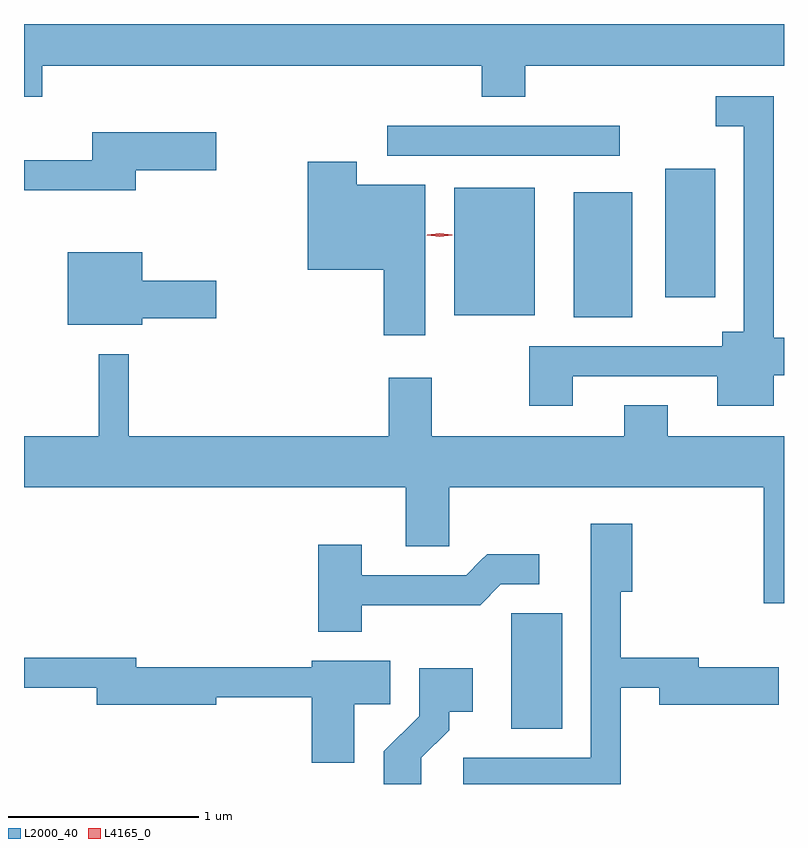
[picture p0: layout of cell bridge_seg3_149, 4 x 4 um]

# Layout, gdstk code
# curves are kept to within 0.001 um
import gdstk
lib = gdstk.Library(unit=1e-6, precision=1e-09)
def R(c, l, rs):  # rectangles x0, y0, x1, y1
    for r in rs: c.add(gdstk.rectangle(r[:2], r[2:], *l))
def P(c, l, *ps):  # polygons
    for p in ps: c.add(gdstk.Polygon(p, *l))
L2000_40 = (2000, 40)
L4165_0 = (4165, 0)

bridge_seg3_149 = lib.new_cell('bridge_seg3_149')
R(bridge_seg3_149, L2000_40, [(853.106,1189.126,853.374,1189.734), (853.436,1191.291,853.744,1191.949), (852.806,1191.301,853.229,1191.974), (853.916,1191.396,854.179,1192.074), (852.453,1192.141,853.678,1192.299)])
P(bridge_seg3_149, L2000_40, [(850.639,1192.616),(852.951,1192.616),(852.951,1192.451),(853.179,1192.451),(853.179,1192.616),(854.542,1192.616),(854.542,1192.835),(850.542,1192.835),(850.542,1192.451),(850.639,1192.451)],
  [(853.429,1190.981),(854.191,1190.981),(854.191,1190.826),(854.489,1190.826),(854.489,1190.986),(854.542,1190.986),(854.542,1191.184),(854.489,1191.184),(854.489,1192.454),(854.183,1192.454),(854.183,1192.296),(854.331,1192.296),(854.331,1191.214),(854.216,1191.214),(854.216,1191.139),(853.201,1191.139),(853.201,1190.826),(853.429,1190.826)],
  [(851.129,1192.066),(851.554,1192.066),(851.554,1192.264),(850.901,1192.264),(850.901,1192.119),(850.542,1192.119),(850.542,1191.961),(851.129,1191.961)],
  [(852.654,1191.989),(852.294,1191.989),(852.294,1192.109),(852.036,1192.109),(852.036,1191.541),(852.436,1191.541),(852.436,1191.196),(852.654,1191.196)],
  [(851.164,1191.286),(851.554,1191.286),(851.554,1191.484),(851.164,1191.484),(851.164,1191.634),(850.771,1191.634),(850.771,1191.251),(851.164,1191.251)],
  [(854.542,1190.664),(853.929,1190.664),(853.929,1190.829),(853.701,1190.829),(853.701,1190.664),(852.689,1190.664),(852.689,1190.974),(852.461,1190.974),(852.461,1190.664),(851.094,1190.664),(851.094,1191.098),(850.936,1191.098),(850.936,1190.664),(850.542,1190.664),(850.542,1190.396),(852.551,1190.396),(852.551,1190.086),(852.779,1190.086),(852.779,1190.396),(854.436,1190.396),(854.436,1189.786),(854.542,1189.786)],
  [(853.684,1189.341),(853.886,1189.341),(853.886,1189.251),(854.514,1189.251),(854.514,1189.449),(854.094,1189.449),(854.094,1189.499),(853.684,1189.499),(853.684,1189.846),(853.744,1189.846),(853.744,1190.204),(853.526,1190.204),(853.526,1188.974),(852.853,1188.974),(852.853,1188.835),(853.684,1188.835)],
  [(852.319,1189.776),(852.942,1189.776),(853.052,1189.886),(853.253,1189.886),(853.253,1190.044),(852.979,1190.044),(852.869,1189.934),(852.319,1189.934),(852.319,1190.094),(852.091,1190.094),(852.091,1189.636),(852.319,1189.636)],
  [(852.279,1189.256),(852.469,1189.256),(852.469,1189.484),(852.056,1189.484),(852.056,1189.449),(851.134,1189.449),(851.134,1189.499),(850.542,1189.499),(850.542,1189.341),(850.926,1189.341),(850.926,1189.251),(851.554,1189.251),(851.554,1189.291),(852.056,1189.291),(852.056,1188.946),(852.279,1188.946)],
  [(852.634,1188.974),(852.779,1189.119),(852.779,1189.216),(852.904,1189.216),(852.904,1189.444),(852.621,1189.444),(852.621,1189.192),(852.436,1189.007),(852.436,1188.835),(852.634,1188.835)])
P(bridge_seg3_149, L4165_0, [(852.73,1191.714),(852.664,1191.724),(852.663,1191.724),(852.664,1191.725),(852.73,1191.734),(852.796,1191.725),(852.796,1191.724),(852.796,1191.724)])

lib.write_gds('bridge_seg3_149.gds')
